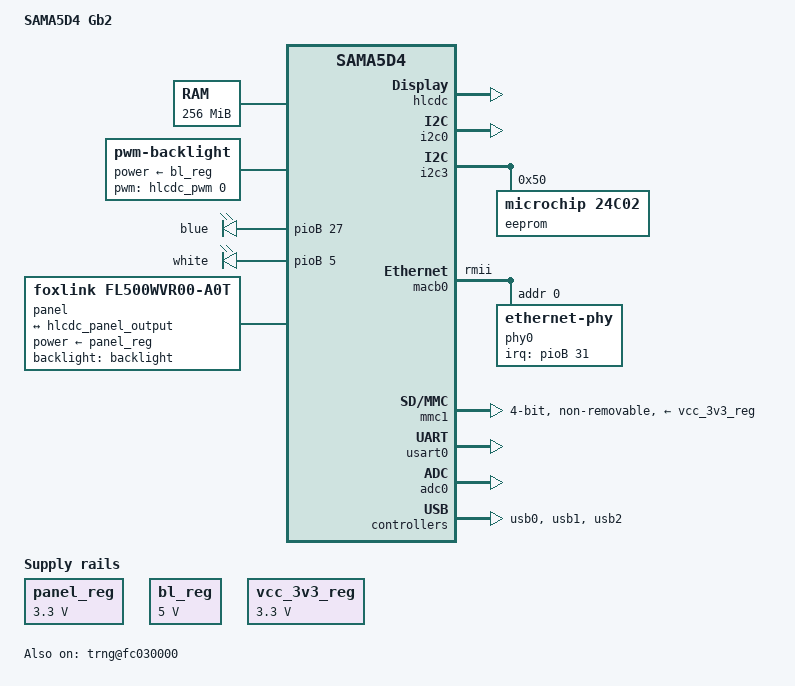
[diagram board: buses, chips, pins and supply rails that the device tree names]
/*
 * at91-gb2.dts - Device Tree file for SAMA5D4 Gb2 board
 *
 *  Copyright (C) 2016 Benedikt Heinz,
 *                2015 Atmel,
 *                2015 Josh Wu <josh.wu@atmel.com>
 *
 * This file is dual-licensed: you can use it either under the terms
 * of the GPL or the X11 license, at your option. Note that this dual
 * licensing only applies to this file, and not this project as a
 * whole.
 *
 *  a) This file is free software; you can redistribute it and/or
 *     modify it under the terms of the GNU General Public License as
 *     published by the Free Software Foundation; either version 2 of the
 *     License, or (at your option) any later version.
 *
 *     This file is distributed in the hope that it will be useful,
 *     but WITHOUT ANY WARRANTY; without even the implied warranty of
 *     MERCHANTABILITY or FITNESS FOR A PARTICULAR PURPOSE.  See the
 *     GNU General Public License for more details.
 *
 * Or, alternatively,
 *
 *  b) Permission is hereby granted, free of charge, to any person
 *     obtaining a copy of this software and associated documentation
 *     files (the "Software"), to deal in the Software without
 *     restriction, including without limitation the rights to use,
 *     copy, modify, merge, publish, distribute, sublicense, and/or
 *     sell copies of the Software, and to permit persons to whom the
 *     Software is furnished to do so, subject to the following
 *     conditions:
 *
 *     The above copyright notice and this permission notice shall be
 *     included in all copies or substantial portions of the Software.
 *
 *     THE SOFTWARE IS PROVIDED "AS IS", WITHOUT WARRANTY OF ANY KIND,
 *     EXPRESS OR IMPLIED, INCLUDING BUT NOT LIMITED TO THE WARRANTIES
 *     OF MERCHANTABILITY, FITNESS FOR A PARTICULAR PURPOSE AND
 *     NONINFRINGEMENT. IN NO EVENT SHALL THE AUTHORS OR COPYRIGHT
 *     HOLDERS BE LIABLE FOR ANY CLAIM, DAMAGES OR OTHER LIABILITY,
 *     WHETHER IN AN ACTION OF CONTRACT, TORT OR OTHERWISE, ARISING
 *     FROM, OUT OF OR IN CONNECTION WITH THE SOFTWARE OR THE USE OR
 *     OTHER DEALINGS IN THE SOFTWARE.
 */
/dts-v1/;
#include "sama5d4.dtsi"

/ {
	model = "SAMA5D4 Gb2";
	compatible = "atmel,sama5d41", "atmel,sama5d4", "atmel,sama5";

aliases {
		serial0 = &usart0;
		serial1 = &usart1;
		serial2 = &usart2;
		serial3 = &usart3;
		serial4 = &usart4;
		serial5 = &uart0;
		serial6 = &uart1;
		gpio0 = &pioA;
		gpio1 = &pioB;
		gpio2 = &pioC;
		gpio3 = &pioD;
		gpio4 = &pioE;
		pwm0 = &pwm0;
		ssc0 = &ssc0;
		ssc1 = &ssc1;
		tcb0 = &tcb0;
		tcb1 = &tcb1;
		i2c0 = &i2c0;
		i2c1 = &i2c1;
		i2c2 = &i2c2;
		i2c3 = &i2c3;
	};

	chosen {
		bootargs = "ignore_loglevel earlyprintk";
		stdout-path = "serial0:115200n8";
	};

	memory {
		reg = <0x20000000 0x10000000>;
	};

	clocks {
		#address-cells = <1>;
		#size-cells = <1>;
		ranges;

		main_clock: clock@0 {
			compatible = "atmel,osc", "fixed-clock";
			clock-frequency = <12000000>;
		};

		slow_xtal {
			clock-frequency = <32768>;
		};

		main_xtal {
			clock-frequency = <12000000>;
		};
	};

	ahb {
		apb {

			trng@fc030000 {
				compatible = "atmel,at91sam9g45-trng";
				reg = <0xfc030000 0x100>;
				interrupts = <53 IRQ_TYPE_LEVEL_HIGH 0>;
				clocks = <&trng_clk>;
				clock-names = "trng_clk";
				status = "okay";
			};

			hlcdc: hlcdc@f0000000 {
				status = "okay";

				hlcdc-display-controller {
					pinctrl-names = "default";
					pinctrl-0 = <&pinctrl_lcd_base &pinctrl_lcd_rgb888>;
					status = "okay";

					port@0 {
						hlcdc_panel_output: endpoint@0 {
							reg = <0>;
							remote-endpoint = <&panel_input>;
							status = "okay";
						};
					};
				};
			};
/*
			spi0: spi@f8010000 {
				cs-gpios = <&pioC 3 0>, <0>, <0>, <0>;
				status = "okay";
			};

			spi1: spi@fc018000 {
				cs-gpios = <&pioB 21 0>;
				status = "okay";
			};
*/
			i2c0: i2c@f8014000 {
				status = "okay";
			};

			i2c3: i2c@fc038000 {
				compatible = "atmel,at91sama5d4-i2c";
				reg = <0xFC038000 0x4000>;
				interrupts = <62 IRQ_TYPE_LEVEL_HIGH 6>;
				dmas = <&dma1
					(AT91_XDMAC_DT_MEM_IF(0) | AT91_XDMAC_DT_PER_IF(1)
					| AT91_XDMAC_DT_PERID(8))>,
				       <&dma1
					(AT91_XDMAC_DT_MEM_IF(0) | AT91_XDMAC_DT_PER_IF(1)
					| AT91_XDMAC_DT_PERID(9))>;
				dma-names = "tx", "rx";
				pinctrl-names = "default";
				pinctrl-0 = <&pinctrl_i2c3>;
				#address-cells = <1>;
				#size-cells = <0>;
				clocks = <&twi3_clk>;
				status = "okay";

/*				
				pmic: act8865@5b {
					compatible = "active-semi,act8865";
					reg = <0x5b>;
					status = "okay";

					regulators {
						vcc_1v8_reg: DCDC_REG1 {
							regulator-name = "VCC_1V8";
							regulator-min-microvolt = <1800000>;
							regulator-max-microvolt = <1800000>;
							regulator-always-on;
							regulator-boot-on;
						};

						vcc_1v2_reg: DCDC_REG2 {
							regulator-name = "VCC_1V2";
							regulator-min-microvolt = <1200000>;
							regulator-max-microvolt = <1200000>;
							regulator-always-on;
						};

						vcc_3v3_reg: DCDC_REG3 {
							regulator-name = "VCC_3V3";
							regulator-min-microvolt = <3300000>;
							regulator-max-microvolt = <3300000>;
							regulator-always-on;
							regulator-boot-on;
						};

						vddfuse_reg: LDO_REG1 {
							regulator-name = "FUSE_2V5";
							regulator-min-microvolt = <2500000>;
							regulator-max-microvolt = <2500000>;
						};

						vddana_reg: LDO_REG2 {
							regulator-name = "VDDANA";
							regulator-min-microvolt = <3300000>;
							regulator-max-microvolt = <3300000>;
							regulator-always-on;
						};
					};
				};
*/
				
				eeprom@50 {
					compatible = "microchip,24c02";
					reg = <0x50>;
				};

			};

			macb0: ethernet@f8020000 {
				pinctrl-names = "default";
				pinctrl-0 = <&pinctrl_macb0_rmii &pinctrl_macb0_phy_irq>;
				phy-mode = "rmii";
				status = "okay";

				phy0: ethernet-phy@0 {
					interrupt-parent = <&pioB>;
					interrupts = <31 IRQ_TYPE_EDGE_FALLING>;
					reg = <0>;
				};
			};

			mmc1: mmc@fc000000 {

				pinctrl-names = "default";
				pinctrl-0 = <&pinctrl_mmc1_clk_cmd_dat0 &pinctrl_mmc1_dat1_3>;

				vmmc-supply = <&vcc_3v3_reg>; 
				vqmmc-supply = <&vcc_3v3_reg>;
				non-removable;
				no-1-8-v;
				cap-sd-highspeed;
				cap-mmc-highspeed;
				bus-width = <4>;

				status = "okay";
				slot@0 {
					reg = <0>;
					bus-width = <4>;
					non-removable;
				};
			};

			usart0: serial@f802c000 {
				status = "okay";
			};
/*
			usart1: serial@f8030000 {
				status = "okay";
			};
*/
			adc0: adc@fc034000 {
				pinctrl-names = "default";
				pinctrl-0 = <
					&pinctrl_adc0_ad0
					&pinctrl_adc0_ad1
					&pinctrl_adc0_ad2
					&pinctrl_adc0_ad3
					&pinctrl_adc0_ad4
					>;
				atmel,adc-vref = <3300>;
				atmel,adc-sleep-mode = "true";
				atmel,adc-ts-wires = <4>;
				status = "okay";
			};

			watchdog@fc068640 {
				status = "okay";
			};

			pinctrl@fc06a000 {
				board {
					pinctrl_usba_vbus: usba_vbus {
						atmel,pins =
							<AT91_PIOE 5 AT91_PERIPH_GPIO AT91_PINCTRL_DEGLITCH>;
					};
					pinctrl_i2c3: i2c3-0 {
						atmel,pins =
							<AT91_PIOC 25 AT91_PERIPH_B AT91_PINCTRL_NONE	/* TWD3 */
							 AT91_PIOC 26 AT91_PERIPH_B AT91_PINCTRL_NONE>; /* TWCK3 */
					};
					pinctrl_macb0_phy_irq: macb0_phy_irq_0 {
						atmel,pins =
							<AT91_PIOB 31 AT91_PERIPH_GPIO AT91_PINCTRL_PULL_UP_DEGLITCH>;
					};
				};
			};

		}; /* apb */

		usb0: gadget@00400000 {
			atmel,vbus-gpio = <&pioE 5 GPIO_ACTIVE_HIGH>;
			pinctrl-names = "default";
			pinctrl-0 = <&pinctrl_usba_vbus>;
			status = "okay";
		};

		usb1: ohci@00500000 {
			num-ports = <3>;
			status = "okay";
		};

		usb2: ehci@00600000 {
			status = "okay";
		};

	}; /* ahb */
	
	panel_reg: panel_regulator {
		compatible = "regulator-fixed";
		regulator-name = "panel-power-supply";
		regulator-min-microvolt = <3300000>;
		regulator-max-microvolt = <3300000>;
		status = "okay";
	};

	bl_reg: backlight_regulator {
		compatible = "regulator-fixed";
		regulator-name = "backlight-power-supply";
		regulator-min-microvolt = <5000000>;
		regulator-max-microvolt = <5000000>;
		status = "okay";
	};

	backlight: backlight {
		compatible = "pwm-backlight";
		pwms = <&hlcdc_pwm 0 50000 0>;
		brightness-levels = <0 4 8 16 32 64 128 255>;
		default-brightness-level = <6>;
		power-supply = <&bl_reg>;
		status = "okay";
	};

	leds {
		compatible = "gpio-leds";
		status = "okay";

		blue {
			label = "blue";
			gpios = <&pioB 27 GPIO_ACTIVE_HIGH>;
			linux,default-trigger = "mmc0";
		};

		white {
			label = "white";
			gpios = <&pioB 5 GPIO_ACTIVE_HIGH>;
			linux,default-trigger = "heartbeat";
		};
	};

	panel: panel {
		compatible = "foxlink,fl500wvr00-a0t", "simple-panel";
		backlight = <&backlight>;
		power-supply = <&panel_reg>;
		#address-cells = <1>;
		#size-cells = <0>;
		status = "okay";

		port@0 {
			reg = <0>;
			#address-cells = <1>;
			#size-cells = <0>;

			panel_input: endpoint@0 {
				reg = <0>;
				remote-endpoint = <&hlcdc_panel_output>;
			};
		};
	};

	vcc_3v3_reg: fixedregulator@0 {
		compatible = "regulator-fixed";
		regulator-name = "VCC 3V3";
		regulator-min-microvolt = <3300000>;
		regulator-max-microvolt = <3300000>;
		regulator-boot-on;
		regulator-always-on;
	};

};
